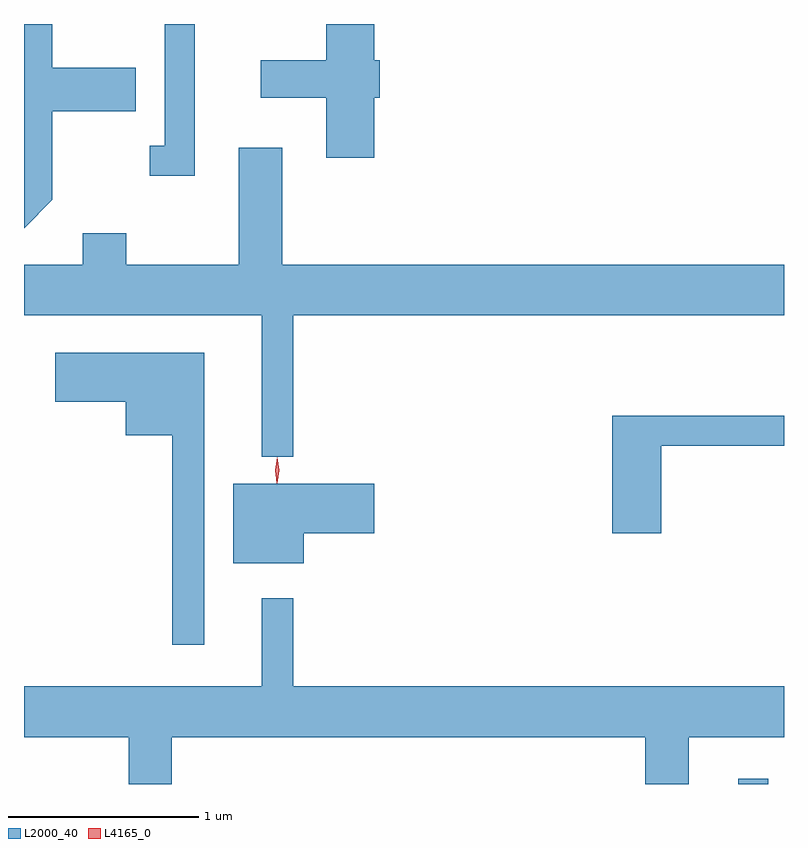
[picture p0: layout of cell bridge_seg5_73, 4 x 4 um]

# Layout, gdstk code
import gdstk
lib = gdstk.Library(unit=1e-6, precision=1e-09)
def R(c, l, rs):  # rectangles x0, y0, x1, y1
    for r in rs: c.add(gdstk.rectangle(r[:2], r[2:], *l))
def P(c, l, *ps):  # polygons
    for p in ps: c.add(gdstk.Polygon(p, *l))
L2000_40 = (2000, 40)
L4165_0 = (4165, 0)

bridge_seg5_73 = lib.new_cell('bridge_seg5_73')
R(bridge_seg5_73, L2000_40, [(1227.881,1485.41,1228.039,1485.438)])
P(bridge_seg5_73, L2000_40, [(1224.269,1488.484),(1224.269,1488.951),(1224.709,1488.951),(1224.709,1489.179),(1224.269,1489.179),(1224.269,1489.41),(1224.121,1489.41),(1224.121,1488.335)],
  [(1225.019,1489.41),(1224.861,1489.41),(1224.861,1488.769),(1224.783,1488.769),(1224.783,1488.611),(1225.019,1488.611)],
  [(1225.964,1489.021),(1225.994,1489.021),(1225.994,1489.219),(1225.964,1489.219),(1225.964,1489.41),(1225.711,1489.41),(1225.711,1489.219),(1225.366,1489.219),(1225.366,1489.021),(1225.711,1489.021),(1225.711,1488.706),(1225.964,1488.706)],
  [(1225.539,1487.876),(1228.121,1487.876),(1228.121,1488.144),(1225.479,1488.144),(1225.479,1488.759),(1225.251,1488.759),(1225.251,1488.144),(1224.659,1488.144),(1224.659,1488.309),(1224.431,1488.309),(1224.431,1488.144),(1224.121,1488.144),(1224.121,1487.876),(1225.371,1487.876),(1225.371,1487.133),(1225.539,1487.133)],
  [(1225.069,1487.679),(1224.286,1487.679),(1224.286,1487.421),(1224.656,1487.421),(1224.656,1487.246),(1224.901,1487.246),(1224.901,1486.143),(1225.069,1486.143)],
  [(1227.474,1487.191),(1228.121,1487.191),(1228.121,1487.349),(1227.216,1487.349),(1227.216,1486.731),(1227.474,1486.731)],
  [(1225.594,1486.731),(1225.964,1486.731),(1225.964,1486.989),(1225.221,1486.989),(1225.221,1486.571),(1225.594,1486.571)],
  [(1224.899,1485.656),(1227.391,1485.656),(1227.391,1485.41),(1227.619,1485.41),(1227.619,1485.656),(1228.121,1485.656),(1228.121,1485.924),(1225.539,1485.924),(1225.539,1486.388),(1225.371,1486.388),(1225.371,1485.924),(1224.121,1485.924),(1224.121,1485.656),(1224.671,1485.656),(1224.671,1485.41),(1224.899,1485.41)])
P(bridge_seg5_73, L4165_0, [(1225.452,1487),(1225.452,1487.001),(1225.444,1487.064),(1225.454,1487.126),(1225.454,1487.127),(1225.455,1487.126),(1225.463,1487.063),(1225.453,1487.001)],
  [(1225.452,1486.994),(1225.444,1487.062),(1225.454,1487.13),(1225.454,1487.13),(1225.455,1487.13),(1225.464,1487.062),(1225.453,1486.994),(1225.453,1486.994)])

lib.write_gds('bridge_seg5_73.gds')
